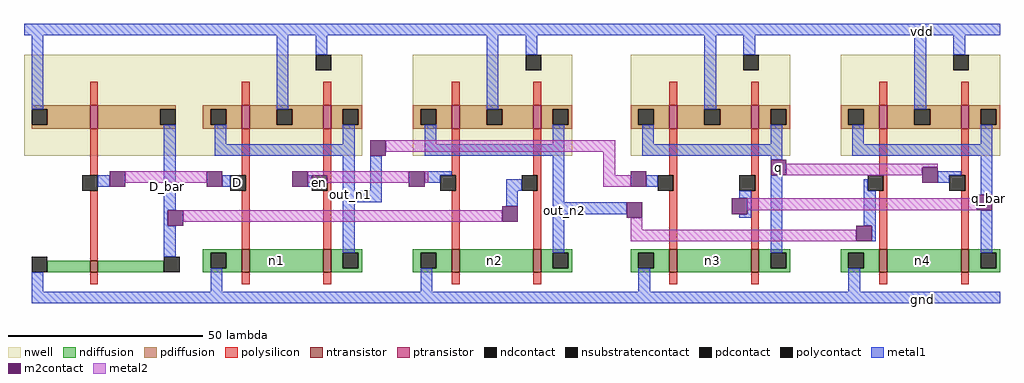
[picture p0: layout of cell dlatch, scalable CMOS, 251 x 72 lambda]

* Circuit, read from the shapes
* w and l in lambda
.subckt dlatch D D_bar en gnd n1 n2 n3 n4 out_n1 out_n2 q q_bar vdd
M1 D_bar D gnd VSUBS nfet w=3 l=2
M2 n1 D gnd VSUBS nfet w=6 l=2
M3 out_n1 en n1 VSUBS nfet w=6 l=2
M4 n2 en gnd VSUBS nfet w=6 l=2
M5 out_n2 D_bar n2 VSUBS nfet w=6 l=2
M6 n3 out_n1 gnd VSUBS nfet w=6 l=2
M7 q q_bar n3 VSUBS nfet w=6 l=2
M8 n4 out_n2 gnd VSUBS nfet w=6 l=2
M9 q_bar q n4 VSUBS nfet w=6 l=2
M10 D_bar D vdd vdd pfet w=6 l=2
M11 vdd D out_n1 vdd pfet w=6 l=2
M12 out_n1 en vdd vdd pfet w=6 l=2
M13 vdd en out_n2 vdd pfet w=6 l=2
M14 out_n2 D_bar vdd vdd pfet w=6 l=2
M15 vdd out_n1 q vdd pfet w=6 l=2
M16 q q_bar vdd vdd pfet w=6 l=2
M17 vdd out_n2 q_bar vdd pfet w=6 l=2
M18 q_bar q vdd vdd pfet w=6 l=2
.ends

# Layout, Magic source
magic
tech scmos
<< nwell >>
rect -46 38 41 64
rect 54 38 95 64
rect 110 38 151 64
rect 164 38 205 64
<< polysilicon >>
rect -29 51 -27 57
rect 10 51 12 57
rect 31 51 33 57
rect 64 51 66 57
rect 85 51 87 57
rect 120 51 122 57
rect 141 51 143 57
rect 174 51 176 57
rect 195 51 197 57
rect -29 33 -27 45
rect 10 33 12 45
rect 31 33 33 45
rect 64 33 66 45
rect 85 33 87 45
rect 120 33 122 45
rect 141 33 143 45
rect 174 33 176 45
rect 195 33 197 45
rect 11 29 12 33
rect 32 29 33 33
rect 65 29 66 33
rect 86 29 87 33
rect 121 29 122 33
rect 142 29 143 33
rect 175 29 176 33
rect 196 29 197 33
rect -29 11 -27 29
rect 10 14 12 29
rect 31 14 33 29
rect 64 14 66 29
rect 85 14 87 29
rect 120 14 122 29
rect 141 14 143 29
rect 174 14 176 29
rect 195 14 197 29
rect -29 5 -27 8
rect 10 5 12 8
rect 31 5 33 8
rect 64 5 66 8
rect 85 5 87 8
rect 120 5 122 8
rect 141 5 143 8
rect 174 5 176 8
rect 195 5 197 8
<< ndiffusion >>
rect 0 13 10 14
rect -40 8 -29 11
rect -27 8 -10 11
rect 0 9 2 13
rect 6 9 10 13
rect 0 8 10 9
rect 12 8 31 14
rect 33 13 41 14
rect 33 9 36 13
rect 40 9 41 13
rect 33 8 41 9
rect 54 13 64 14
rect 54 9 56 13
rect 60 9 64 13
rect 54 8 64 9
rect 66 8 85 14
rect 87 13 95 14
rect 87 9 90 13
rect 94 9 95 13
rect 87 8 95 9
rect 110 13 120 14
rect 110 9 112 13
rect 116 9 120 13
rect 110 8 120 9
rect 122 8 141 14
rect 143 13 151 14
rect 143 9 146 13
rect 150 9 151 13
rect 143 8 151 9
rect 164 13 174 14
rect 164 9 166 13
rect 170 9 174 13
rect 164 8 174 9
rect 176 8 195 14
rect 197 13 205 14
rect 197 9 200 13
rect 204 9 205 13
rect 197 8 205 9
<< pdiffusion >>
rect -44 50 -29 51
rect -40 46 -29 50
rect -44 45 -29 46
rect -27 50 -7 51
rect -27 46 -11 50
rect -27 45 -7 46
rect 0 50 10 51
rect 0 46 2 50
rect 6 46 10 50
rect 0 45 10 46
rect 12 50 31 51
rect 12 46 19 50
rect 23 46 31 50
rect 12 45 31 46
rect 33 50 41 51
rect 33 46 36 50
rect 40 46 41 50
rect 33 45 41 46
rect 54 50 64 51
rect 54 46 56 50
rect 60 46 64 50
rect 54 45 64 46
rect 66 50 85 51
rect 66 46 73 50
rect 77 46 85 50
rect 66 45 85 46
rect 87 50 95 51
rect 87 46 90 50
rect 94 46 95 50
rect 87 45 95 46
rect 110 50 120 51
rect 110 46 112 50
rect 116 46 120 50
rect 110 45 120 46
rect 122 50 141 51
rect 122 46 129 50
rect 133 46 141 50
rect 122 45 141 46
rect 143 50 151 51
rect 143 46 146 50
rect 150 46 151 50
rect 143 45 151 46
rect 164 50 174 51
rect 164 46 166 50
rect 170 46 174 50
rect 164 45 174 46
rect 176 50 195 51
rect 176 46 183 50
rect 187 46 195 50
rect 176 45 195 46
rect 197 50 205 51
rect 197 46 200 50
rect 204 46 205 50
rect 197 45 205 46
<< metal1 >>
rect -46 69 205 72
rect -44 50 -41 69
rect 19 50 22 69
rect 29 64 32 69
rect 73 50 76 69
rect 83 64 86 69
rect 129 50 132 69
rect 139 64 142 69
rect 183 50 186 69
rect 193 64 196 69
rect -27 30 -24 33
rect -10 24 -7 46
rect 3 41 6 46
rect 36 41 39 46
rect 3 38 39 41
rect 5 30 7 33
rect 27 30 28 33
rect 36 29 39 38
rect 57 41 60 46
rect 90 41 93 46
rect 57 38 93 41
rect 113 41 116 46
rect 146 41 149 46
rect 113 38 149 41
rect 167 41 170 46
rect 200 41 203 46
rect 167 38 203 41
rect 43 29 46 38
rect 57 33 64 34
rect 57 31 61 33
rect 78 29 82 32
rect 36 26 46 29
rect -10 20 -9 24
rect -10 12 -7 20
rect 36 13 39 26
rect 78 25 81 29
rect 90 26 93 38
rect 146 37 149 38
rect 114 30 117 33
rect 138 27 141 29
rect 90 23 109 26
rect 90 13 93 23
rect 140 23 141 27
rect 138 22 141 23
rect 146 13 149 33
rect 170 29 171 32
rect 189 33 195 34
rect 189 31 192 33
rect 170 20 173 29
rect 200 28 203 38
rect 172 16 173 20
rect 200 13 203 24
rect -44 3 -41 8
rect 2 3 5 9
rect 56 3 59 9
rect 112 3 115 9
rect 166 3 169 9
rect -44 0 205 3
<< metal2 >>
rect 47 39 106 42
rect -20 31 1 34
rect 27 31 53 34
rect 57 31 58 34
rect 103 33 106 39
rect 103 30 110 33
rect 150 35 189 36
rect 150 33 185 35
rect -5 21 77 24
rect 140 24 199 27
rect 110 19 113 22
rect 110 16 168 19
<< ntransistor >>
rect -29 8 -27 11
rect 10 8 12 14
rect 31 8 33 14
rect 64 8 66 14
rect 85 8 87 14
rect 120 8 122 14
rect 141 8 143 14
rect 174 8 176 14
rect 195 8 197 14
<< ptransistor >>
rect -29 45 -27 51
rect 10 45 12 51
rect 31 45 33 51
rect 64 45 66 51
rect 85 45 87 51
rect 120 45 122 51
rect 141 45 143 51
rect 174 45 176 51
rect 195 45 197 51
<< polycontact >>
rect -31 29 -27 33
rect 7 29 11 33
rect 28 29 32 33
rect 61 29 65 33
rect 82 29 86 33
rect 117 29 121 33
rect 138 29 142 33
rect 171 29 175 33
rect 192 29 196 33
<< ndcontact >>
rect -44 8 -40 12
rect -10 8 -6 12
rect 2 9 6 13
rect 36 9 40 13
rect 56 9 60 13
rect 90 9 94 13
rect 112 9 116 13
rect 146 9 150 13
rect 166 9 170 13
rect 200 9 204 13
<< pdcontact >>
rect -44 46 -40 50
rect -11 46 -7 50
rect 2 46 6 50
rect 19 46 23 50
rect 36 46 40 50
rect 56 46 60 50
rect 73 46 77 50
rect 90 46 94 50
rect 112 46 116 50
rect 129 46 133 50
rect 146 46 150 50
rect 166 46 170 50
rect 183 46 187 50
rect 200 46 204 50
<< m2contact >>
rect -24 30 -20 34
rect 1 30 5 34
rect 23 30 27 34
rect 43 38 47 42
rect 53 30 57 34
rect -9 20 -5 24
rect 77 21 81 25
rect 110 30 114 34
rect 146 33 150 37
rect 109 22 113 26
rect 136 23 140 27
rect 185 31 189 35
rect 199 24 203 28
rect 168 16 172 20
<< nsubstratencontact >>
rect 29 60 33 64
rect 83 60 87 64
rect 139 60 143 64
rect 193 60 197 64
<< labels >>
rlabel metal1 185 1 185 1 1 gnd
rlabel metal1 185 70 185 70 5 vdd
rlabel polycontact 9 31 9 31 1 D
rlabel metal1 -9 30 -9 30 1 D_bar
rlabel polycontact 30 31 30 31 1 en
rlabel ndiffusion 19 11 19 11 1 n1
rlabel ndiffusion 75 11 75 11 1 n2
rlabel ndiffusion 131 11 131 11 1 n3
rlabel ndiffusion 185 11 185 11 1 n4
rlabel m2contact 202 27 202 27 7 q_bar
rlabel m2contact 148 35 148 35 1 q
rlabel metal1 93 24 93 24 1 out_n2
rlabel metal1 38 28 38 28 1 out_n1
<< end >>
